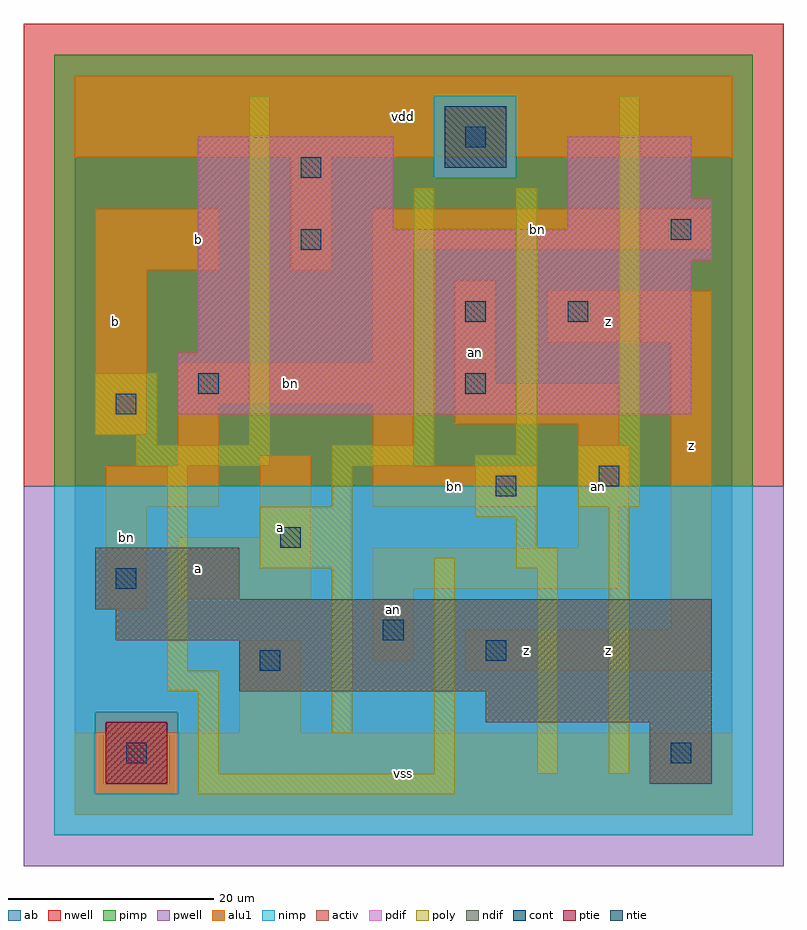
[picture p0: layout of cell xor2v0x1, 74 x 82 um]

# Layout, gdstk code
import gdstk
lib = gdstk.Library(unit=1e-6, precision=1e-09)
def R(c, l, rs):  # rectangles x0, y0, x1, y1
    for r in rs: c.add(gdstk.rectangle(r[:2], r[2:], *l))
ndif = (3, 0)
pdif = (4, 0)
ntie = (5, 0)
ptie = (6, 0)
cont = (25, 0)
pwell = (41, 0)
nwell = (42, 0)
activ = (43, 0)
pimp = (44, 0)
nimp = (45, 0)
poly = (46, 0)
alu1 = (49, 0)
ab = (63, 0)

xor2v0x1 = lib.new_cell('xor2v0x1')
R(xor2v0x1, ndif, [(56,3,62,9), (40,9,62,12), (16,12,62,17), (4,17,62,20), (2,20,62,21), (2,21,16,26)])
R(xor2v0x1, pdif, [(10,39,60,45), (12,45,60,54), (12,54,62,57), (12,57,31,66), (48,57,62,60), (48,60,60,66)])
R(xor2v0x1, ntie, [(36,63,42,69)])
R(xor2v0x1, ptie, [(3,3,9,9)])
R(xor2v0x1, cont, [(5,5,7,7), (58,5,60,7), (18,14,20,16), (40,15,42,17), (30,17,32,19), (4,22,6,24), (20,26,22,28), (41,31,43,33), (51,32,53,34), (4,39,6,41), (12,41,14,43), (38,41,40,43), (38,48,40,50), (48,48,50,50), (22,55,24,57), (58,56,60,58), (22,62,24,64), (38,65,40,67)])
R(xor2v0x1, pwell, [(-5,-5,69,32)])
R(xor2v0x1, nwell, [(-5,32,69,77)])
R(xor2v0x1, activ, [(3,3,9,9), (56,3,62,9), (40,9,62,12), (16,12,62,17), (4,17,62,20), (2,20,62,21), (2,21,16,26), (10,39,60,45), (12,45,60,54), (12,54,62,57), (12,57,31,66), (48,57,62,60), (48,60,60,66), (36,63,42,69)])
R(xor2v0x1, pimp, [(2,2,10,10), (-2,32,66,62), (-2,62,35,70), (43,62,66,70), (-2,70,66,74)])
R(xor2v0x1, nimp, [(-2,-2,66,2), (-2,2,2,10), (10,2,66,10), (-2,10,66,32), (35,62,43,70)])
R(xor2v0x1, poly, [(12,2,37,4), (12,4,14,12), (35,4,37,25), (45,4,47,24), (52,4,54,30), (25,8,27,24), (9,12,14,14), (9,14,11,34), (18,24,27,30), (43,24,47,26), (43,26,45,29), (39,29,45,35), (25,30,27,34), (49,30,55,36), (6,34,19,36), (25,34,35,36), (43,35,45,61), (6,36,8,37), (17,36,19,70), (33,36,35,61), (53,36,55,70), (2,37,8,43)])
R(xor2v0x1, alu1, [(0,0,64,8), (16,8,22,17), (38,14,62,18), (29,15,33,22), (58,18,62,46), (3,20,7,30), (10,21,23,27), (29,22,53,26), (49,26,53,30), (18,27,23,35), (3,30,14,34), (29,30,45,34), (49,30,54,36), (10,34,14,40), (29,34,33,40), (49,36,53,38), (2,37,7,53), (37,38,53,42), (10,40,33,44), (37,42,41,52), (29,44,33,55), (46,46,62,51), (2,53,14,59), (21,53,25,64), (29,55,62,59), (0,64,64,72)])
R(xor2v0x1, ab, [(0,0,64,72)])
xor2v0x1.add(gdstk.Label('bn', (5,27), layer=49, texttype=0))
xor2v0x1.add(gdstk.Label('an', (31,20), layer=49, texttype=0))
xor2v0x1.add(gdstk.Label('bn', (37,32), layer=49, texttype=0))
xor2v0x1.add(gdstk.Label('an', (39,45), layer=49, texttype=0))
xor2v0x1.add(gdstk.Label('bn', (21,42), layer=49, texttype=0))
xor2v0x1.add(gdstk.Label('an', (51,32), layer=49, texttype=0))
xor2v0x1.add(gdstk.Label('bn', (45,57), layer=49, texttype=0))
xor2v0x1.add(gdstk.Label('a', (12,24), layer=49, texttype=0))
xor2v0x1.add(gdstk.Label('b', (4,48), layer=49, texttype=0))
xor2v0x1.add(gdstk.Label('b', (12,56), layer=49, texttype=0))
xor2v0x1.add(gdstk.Label('a', (20,28), layer=49, texttype=0))
xor2v0x1.add(gdstk.Label('vss', (32,4), layer=49, texttype=0))
xor2v0x1.add(gdstk.Label('z', (44,16), layer=49, texttype=0))
xor2v0x1.add(gdstk.Label('vdd', (32,68), layer=49, texttype=0))
xor2v0x1.add(gdstk.Label('z', (52,16), layer=49, texttype=0))
xor2v0x1.add(gdstk.Label('z', (60,36), layer=49, texttype=0))
xor2v0x1.add(gdstk.Label('z', (52,48), layer=49, texttype=0))

lib.write_gds('xor2v0x1.gds')
